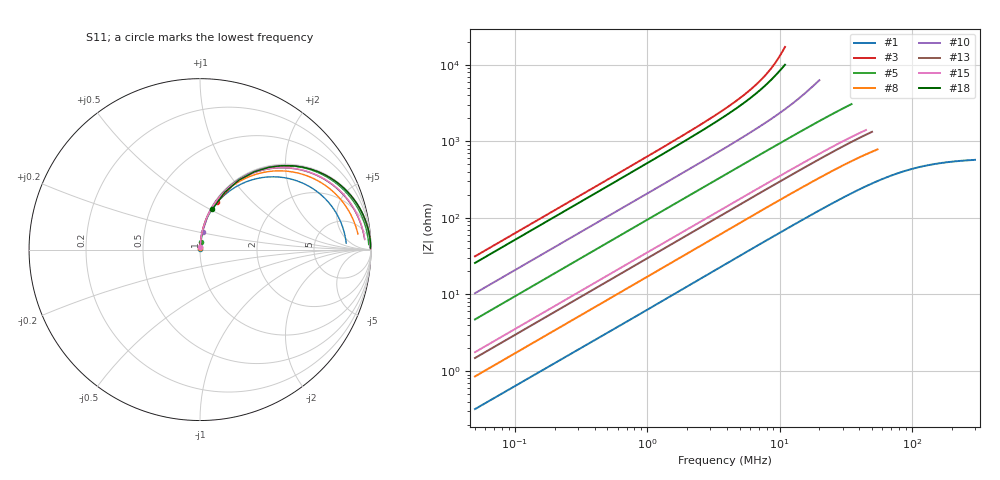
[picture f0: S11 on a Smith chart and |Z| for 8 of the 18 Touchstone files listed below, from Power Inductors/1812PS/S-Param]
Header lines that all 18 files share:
! 1 October 2002
# MHZ S MA R 50
!Freq  MagS11  AngS11  MagS21  AngS21  MagS12  AngS12  MagS22  AngS22
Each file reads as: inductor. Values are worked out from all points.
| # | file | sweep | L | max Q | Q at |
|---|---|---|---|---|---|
| 1 | 18PS102.S2P | 50 kHz to 300 MHz | 1.01 uH | 25.3 | 1.546 MHz |
| 2 | 18PS103.S2P | 50 kHz to 40 MHz | 10 uH | 64.3 | 250 kHz |
| 3 | 18PS104.S2P | 50 kHz to 11 MHz | 100 uH | 94.1 | 563 kHz |
| 4 | 18PS152.S2P | 50 kHz to 60 MHz | 1.5 uH | 59.1 | 650 kHz |
| 5 | 18PS153.S2P | 50 kHz to 35 MHz | 15 uH | 65.9 | 398 kHz |
| 6 | 18PS222.S2P | 50 kHz to 60 MHz | 2.2 uH | 57.5 | 500 kHz |
| 7 | 18PS223.S2P | 50 kHz to 25 MHz | 22 uH | 74.1 | 422 kHz |
| 8 | 18PS272.S2P | 50 kHz to 55 MHz | 2.7 uH | 57.3 | 461 kHz |
| 9 | 18PS332.S2P | 50 kHz to 50 MHz | 3.31 uH | 54.2 | 425 kHz |
| 10 | 18PS333.S2P | 50 kHz to 20 MHz | 33 uH | 70.4 | 350 kHz |
| 11 | 18PS392.S2P | 50 kHz to 50 MHz | 3.91 uH | 57.7 | 425 kHz |
| 12 | 18PS393.S2P | 50 kHz to 20 MHz | 39 uH | 68.8 | 450 kHz |
| 13 | 18PS472.S2P | 50 kHz to 50 MHz | 4.71 uH | 60.6 | 425 kHz |
| 14 | 18PS473.S2P | 50 kHz to 18 MHz | 47 uH | 78.8 | 680 kHz |
| 15 | 18PS562.S2P | 50 kHz to 45 MHz | 5.61 uH | 59.2 | 274 kHz |
| 16 | 18PS682.S2P | 50 kHz to 40 MHz | 6.81 uH | 60.4 | 350 kHz |
| 17 | 18PS683.S2P | 50 kHz to 13 MHz | 68 uH | 73.9 | 562 kHz |
| 18 | 18PS823.S2P | 50 kHz to 11 MHz | 82 uH | 92.7 | 617 kHz |
